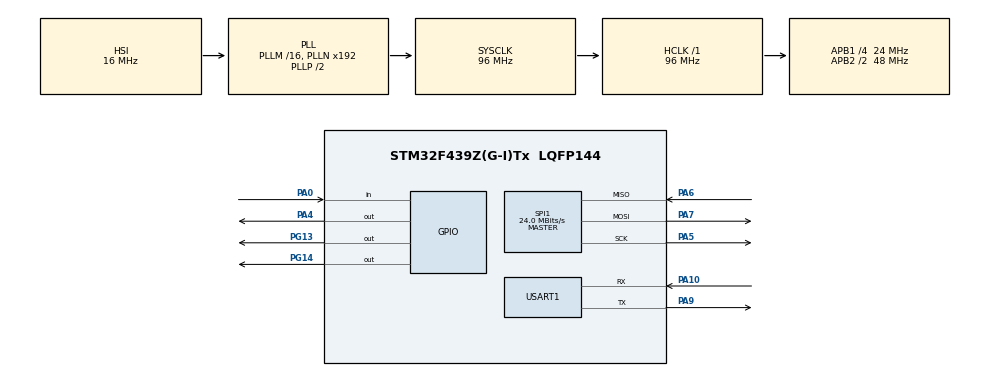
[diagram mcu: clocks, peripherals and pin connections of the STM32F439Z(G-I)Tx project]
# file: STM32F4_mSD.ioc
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Mcu.Family=STM32F4
Mcu.Name=STM32F439Z(G-I)Tx
Mcu.Package=LQFP144
NVIC.PriorityGroup=NVIC_PRIORITYGROUP_4
PA0/WKUP.Signal=GPIO_Input
PA10.Mode=Asynchronous
PA10.Signal=USART1_RX
PA4.GPIO_PuPd=GPIO_PULLUP
PA4.GPIO_Speed=GPIO_SPEED_HIGH
PA4.Signal=GPIO_Output
PA5.Mode=Full_Duplex_Master
PA5.Signal=SPI1_SCK
PA6.Mode=Full_Duplex_Master
PA6.Signal=SPI1_MISO
PA7.Mode=Full_Duplex_Master
PA7.Signal=SPI1_MOSI
PA9.Mode=Asynchronous
PA9.Signal=USART1_TX
PG13.Signal=GPIO_Output
PG14.Signal=GPIO_Output
PH0/OSC_IN.Mode=HSE-External-Oscillator
PH0/OSC_IN.Signal=RCC_OSC_IN
PH1/OSC_OUT.Mode=HSE-External-Oscillator
PH1/OSC_OUT.Signal=RCC_OSC_OUT
ProjectManager.TargetToolchain=MDK-ARM V5
RCC.48MHZClocksFreq_Value=48000000
RCC.AHBFreq_Value=96000000
RCC.APB1CLKDivider=RCC_HCLK_DIV4
RCC.APB1Freq_Value=24000000
RCC.APB1TimFreq_Value=48000000
RCC.APB2CLKDivider=RCC_HCLK_DIV2
RCC.APB2Freq_Value=48000000
RCC.APB2TimFreq_Value=96000000
RCC.CortexFreq_Value=96000000
RCC.HCLKFreq_Value=96000000
RCC.HSE_VALUE=8000000
RCC.HSI_VALUE=16000000
RCC.LSE_VALUE=32768
RCC.SYSCLKFreq_VALUE=96000000
RCC.SYSCLKSource=RCC_SYSCLKSOURCE_PLLCLK
RCC.VCOOutputFreq_Value=192000000
SPI1.BaudRatePrescaler=SPI_BAUDRATEPRESCALER_2
SPI1.CRCCalculation=SPI_CRCCALCULATION_DISABLED
SPI1.CalculateBaudRate=24.0 MBits/s
SPI1.Mode=SPI_MODE_MASTER
board=STM32F4_mSD

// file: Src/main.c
/**
  ******************************************************************************
  * File Name          : main.c
  * Description        : Main program body
  ******************************************************************************
  *
  * COPYRIGHT(c) 2015 STMicroelectronics
  *
  * Redistribution and use in source and binary forms, with or without modification,
  * are permitted provided that the following conditions are met:
  *   1. Redistributions of source code must retain the above copyright notice,
  *      this list of conditions and the following disclaimer.
  *   2. Redistributions in binary form must reproduce the above copyright notice,
  *      this list of conditions and the following disclaimer in the documentation
  *      and/or other materials provided with the distribution.
  *   3. Neither the name of STMicroelectronics nor the names of its contributors
  *      may be used to endorse or promote products derived from this software
  *      without specific prior written permission.
  *
  * THIS SOFTWARE IS PROVIDED BY THE COPYRIGHT HOLDERS AND CONTRIBUTORS "AS IS"
  * AND ANY EXPRESS OR IMPLIED WARRANTIES, INCLUDING, BUT NOT LIMITED TO, THE
  * IMPLIED WARRANTIES OF MERCHANTABILITY AND FITNESS FOR A PARTICULAR PURPOSE ARE
  * DISCLAIMED. IN NO EVENT SHALL THE COPYRIGHT HOLDER OR CONTRIBUTORS BE LIABLE
  * FOR ANY DIRECT, INDIRECT, INCIDENTAL, SPECIAL, EXEMPLARY, OR CONSEQUENTIAL
  * DAMAGES (INCLUDING, BUT NOT LIMITED TO, PROCUREMENT OF SUBSTITUTE GOODS OR
  * SERVICES; LOSS OF USE, DATA, OR PROFITS; OR BUSINESS INTERRUPTION) HOWEVER
  * CAUSED AND ON ANY THEORY OF LIABILITY, WHETHER IN CONTRACT, STRICT LIABILITY,
  * OR TORT (INCLUDING NEGLIGENCE OR OTHERWISE) ARISING IN ANY WAY OUT OF THE USE
  * OF THIS SOFTWARE, EVEN IF ADVISED OF THE POSSIBILITY OF SUCH DAMAGE.
  *
  ******************************************************************************
  */
#include "stm32f4xx_hal.h"
#include "mmc_sd.h"
#include <stdio.h>

SPI_HandleTypeDef hspi1;

UART_HandleTypeDef huart1;

/* USER CODE BEGIN PV */
/* Private variables ---------------------------------------------------------*/
typedef enum {FAILED = 0, PASSED = !FAILED} TestStatus;
#define BLOCK_SIZE            511 /* Can not be used 512 Block */

uint8_t Buffer_Block_Tx[BLOCK_SIZE]={1};
uint8_t Buffer_Block_Rx[BLOCK_SIZE];

/* USER CODE END PV */

void SystemClock_Config(void);
static void MX_GPIO_Init(void);
void MX_SPI1_Init(void);
static void MX_USART1_UART_Init(void);

void SD_SingleBlockTest(void);

/* USER CODE BEGIN PFP */
/* Private function prototypes -----------------------------------------------*/

/* USER CODE END PFP */

int main(void)
{

  /* MCU Configuration----------------------------------------------------------*/

  /* Reset of all peripherals, Initializes the Flash interface and the Systick. */
  HAL_Init();

  /* Configure the system clock */
  SystemClock_Config();

  /* Initialize all configured peripherals */
  MX_GPIO_Init();
  MX_SPI1_Init();
  MX_USART1_UART_Init();

  /* USER CODE BEGIN 2 */
  // LED off
  HAL_GPIO_WritePin(GPIOG, GPIO_PIN_13, GPIO_PIN_RESET);  // Green LED
  HAL_GPIO_WritePin(GPIOG, GPIO_PIN_14, GPIO_PIN_RESET);  // Red LED

  printf("\r\nSTM32F4 SD Test3 - 2015.11.18");

  // SD Init
  SD_Init();

  //
  SD_SingleBlockTest();

  /* USER CODE END 2 */

  /* Infinite loop */
  while (1)
  {

  /* USER CODE BEGIN 3 */
    HAL_Delay(100); // 100 msec

    // User Button
  if (HAL_GPIO_ReadPin(GPIOA, GPIO_PIN_0) == GPIO_PIN_SET) {
      HAL_GPIO_WritePin(GPIOG, GPIO_PIN_13, GPIO_PIN_SET);  // Green LED on
  }else {
      HAL_GPIO_WritePin(GPIOG, GPIO_PIN_13, GPIO_PIN_RESET);  // Green LED off
  }

  }
  /* USER CODE END 3 */

}

/** System Clock Configuration
*/
void SystemClock_Config(void)
{

  RCC_OscInitTypeDef RCC_OscInitStruct;
  RCC_ClkInitTypeDef RCC_ClkInitStruct;

  __PWR_CLK_ENABLE();

  __HAL_PWR_VOLTAGESCALING_CONFIG(PWR_REGULATOR_VOLTAGE_SCALE3);

  RCC_OscInitStruct.OscillatorType = RCC_OSCILLATORTYPE_HSI;
  RCC_OscInitStruct.HSIState = RCC_HSI_ON;
  RCC_OscInitStruct.HSICalibrationValue = 16;
  RCC_OscInitStruct.PLL.PLLState = RCC_PLL_ON;
  RCC_OscInitStruct.PLL.PLLSource = RCC_PLLSOURCE_HSI;
  RCC_OscInitStruct.PLL.PLLM = 16;
  RCC_OscInitStruct.PLL.PLLN = 192;
  RCC_OscInitStruct.PLL.PLLP = RCC_PLLP_DIV2;
  RCC_OscInitStruct.PLL.PLLQ = 4;
  HAL_RCC_OscConfig(&RCC_OscInitStruct);

  RCC_ClkInitStruct.ClockType = RCC_CLOCKTYPE_SYSCLK|RCC_CLOCKTYPE_PCLK1
                              |RCC_CLOCKTYPE_PCLK2;
  RCC_ClkInitStruct.SYSCLKSource = RCC_SYSCLKSOURCE_PLLCLK;
  RCC_ClkInitStruct.AHBCLKDivider = RCC_SYSCLK_DIV1;
  RCC_ClkInitStruct.APB1CLKDivider = RCC_HCLK_DIV4;
  RCC_ClkInitStruct.APB2CLKDivider = RCC_HCLK_DIV2;
  HAL_RCC_ClockConfig(&RCC_ClkInitStruct, FLASH_LATENCY_3);

  HAL_SYSTICK_Config(HAL_RCC_GetHCLKFreq()/1000);

  HAL_SYSTICK_CLKSourceConfig(SYSTICK_CLKSOURCE_HCLK);

  /* SysTick_IRQn interrupt configuration */
  HAL_NVIC_SetPriority(SysTick_IRQn, 0, 0);
}

/* SPI1 init function */
void MX_SPI1_Init(void)
{

  hspi1.Instance = SPI1;
  hspi1.Init.Mode = SPI_MODE_MASTER;
  hspi1.Init.Direction = SPI_DIRECTION_2LINES;
  hspi1.Init.DataSize = SPI_DATASIZE_8BIT;

#if 0
  // hspi1.Init.CLKPolarity = SPI_POLARITY_LOW;
  // hspi1.Init.CLKPhase = SPI_PHASE_1EDGE;
  // hspi1.Init.NSS = SPI_NSS_SOFT;
#else
  hspi1.Init.CLKPolarity = SPI_POLARITY_HIGH;
  hspi1.Init.CLKPhase = SPI_PHASE_2EDGE;
  hspi1.Init.NSS = SPI_NSS_HARD_OUTPUT;
#endif

  // hspi1.Init.BaudRatePrescaler = SPI_BAUDRATEPRESCALER_2;
  // for test
  hspi1.Init.BaudRatePrescaler = SPI_BAUDRATEPRESCALER_16;
  hspi1.Init.FirstBit = SPI_FIRSTBIT_MSB;
  hspi1.Init.TIMode = SPI_TIMODE_DISABLED;
  hspi1.Init.CRCCalculation = SPI_CRCCALCULATION_DISABLED;
  hspi1.Init.CRCPolynomial = 10;
  HAL_SPI_Init(&hspi1);

}

/* USART1 init function */
void MX_USART1_UART_Init(void)
{

  huart1.Instance = USART1;
  huart1.Init.BaudRate = 115200;
  huart1.Init.WordLength = UART_WORDLENGTH_8B;
  huart1.Init.StopBits = UART_STOPBITS_1;
  huart1.Init.Parity = UART_PARITY_NONE;
  huart1.Init.Mode = UART_MODE_TX_RX;
  huart1.Init.HwFlowCtl = UART_HWCONTROL_NONE;
  huart1.Init.OverSampling = UART_OVERSAMPLING_16;
  HAL_UART_Init(&huart1);

}

/** Configure pins as
        * Analog
        * Input
        * Output
        * EVENT_OUT
        * EXTI
*/
void MX_GPIO_Init(void)
{

  GPIO_InitTypeDef GPIO_InitStruct;

  /* GPIO Ports Clock Enable */
  __GPIOH_CLK_ENABLE();
  __GPIOA_CLK_ENABLE();
  __GPIOG_CLK_ENABLE();

  /*Configure GPIO pin : PA0 */
  GPIO_InitStruct.Pin = GPIO_PIN_0;
  GPIO_InitStruct.Mode = GPIO_MODE_INPUT;
  GPIO_InitStruct.Pull = GPIO_NOPULL;
  HAL_GPIO_Init(GPIOA, &GPIO_InitStruct);

  /*Configure GPIO pin : PA4 */
  GPIO_InitStruct.Pin = GPIO_PIN_4;
  GPIO_InitStruct.Mode = GPIO_MODE_OUTPUT_PP;
  GPIO_InitStruct.Pull = GPIO_PULLUP;
  GPIO_InitStruct.Speed = GPIO_SPEED_HIGH;
  HAL_GPIO_Init(GPIOA, &GPIO_InitStruct);

  /*Configure GPIO pins : PG13 PG14 */
  GPIO_InitStruct.Pin = GPIO_PIN_13|GPIO_PIN_14;
  GPIO_InitStruct.Mode = GPIO_MODE_OUTPUT_PP;
  GPIO_InitStruct.Pull = GPIO_NOPULL;
  GPIO_InitStruct.Speed = GPIO_SPEED_LOW;
  HAL_GPIO_Init(GPIOG, &GPIO_InitStruct);

}

/* USER CODE BEGIN 4 */
int fputc(int ch, FILE *f)
{
  // Write a character to the USART
  USART1->DR = (uint16_t)(ch & 0x01FF);

  while(__HAL_UART_GET_FLAG(&huart1, UART_FLAG_TXE) == 0)
  {

  }

   return ch;
}

TestStatus Buffercmp(uint8_t* pBuffer1, uint8_t* pBuffer2, uint32_t BufferLength)
{
  while (BufferLength--)
  {
    if (*pBuffer1 != *pBuffer2)
    {
      return FAILED;
    }

    pBuffer1++;
    pBuffer2++;
  }

  return PASSED;
}

/**
  * @brief  Tests the SD card Single Blocks operations.
  * @param  None
  * @retval None
  */
void SD_SingleBlockTest(void)
{
  uint32_t i;

  printf("\r\nWrite buffer");
  for (i = 0; i < BLOCK_SIZE; i++) {
    Buffer_Block_Tx[i] = i;
  }

  /* Write block of 512 bytes on address 0 */
  SD_WriteSingleBlock (0x00, Buffer_Block_Tx);

  /* Read block of 512 bytes on address 0 */
  SD_ReadSingleBlock (0x00, Buffer_Block_Rx);

  printf("\r\nRead buffer");
//  for (i = 0; i < BLOCK_SIZE; i++) {
  for (i = 0; i < 10; i++) {
    printf("\r\n[%d] = %02x",i,Buffer_Block_Tx[i]);
  }

  #if 0
  /* Check the correctness of written data */
  TransferStatus1 = Buffercmp(Buffer_Block_Tx, Buffer_Block_Rx, BLOCK_SIZE);

  if(TransferStatus1 == PASSED)
  {
    printf("\r\nSuccess");
  }
  else
  {
    printf("\r\nFail");
  }
  #endif
}

/* USER CODE END 4 */

/************************ (C) COPYRIGHT STMicroelectronics *****END OF FILE****/
